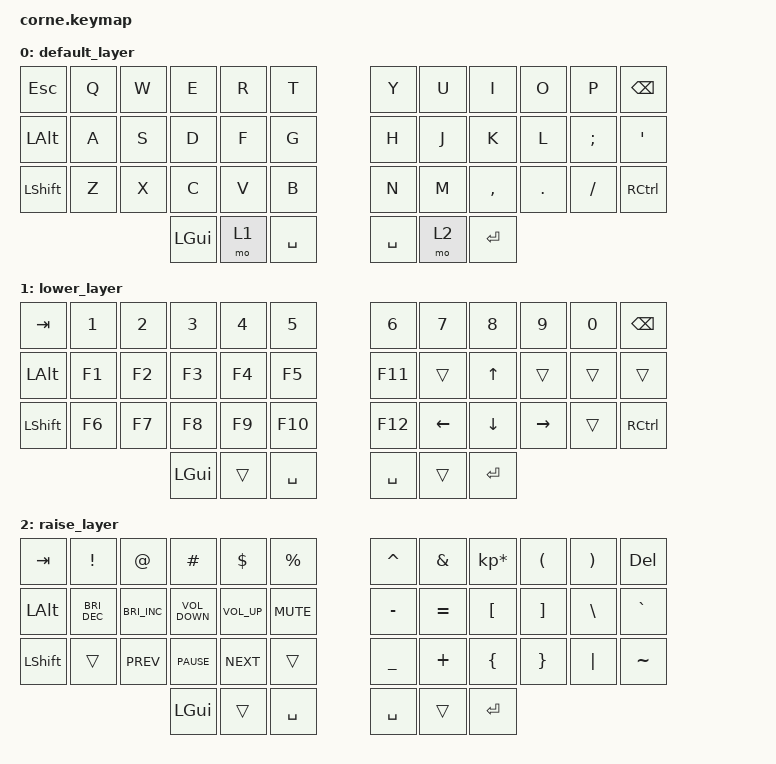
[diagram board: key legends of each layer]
/*
 * Copyright (c) 2020 The ZMK Contributors
 *
 * SPDX-License-Identifier: MIT
 */

#include <behaviors.dtsi>
#include <dt-bindings/zmk/keys.h>

&led_strip { chain-length = <27>; };

/ {
    keymap {
        compatible = "zmk,keymap";

        default_layer {
            // -----------------------------------------------------------------------------------------
            // |  TAB |  Q  |  W  |  E  |  R  |  T  |   |  Y  |  U   |  I  |  O  |  P  | BKSP |
            // | CTRL |  A  |  S  |  D  |  F  |  G  |   |  H  |  J   |  K  |  L  |  ;  |  '   |
            // | SHFT |  Z  |  X  |  C  |  V  |  B  |   |  N  |  M   |  ,  |  .  |  /  | ESC  |
            //                    | GUI | LWR | SPC |   | ENT | RSE  | ALT |

            bindings = <
&kp ESC         &kp Q  &kp W  &kp E     &kp R  &kp T        &kp Y      &kp U  &kp I      &kp O    &kp P     &kp BSPC
&kp LALT        &kp A  &kp S  &kp D     &kp F  &kp G        &kp H      &kp J  &kp K      &kp L    &kp SEMI  &kp SQT
&kp LEFT_SHIFT  &kp Z  &kp X  &kp C     &kp V  &kp B        &kp N      &kp M  &kp COMMA  &kp DOT  &kp FSLH  &kp RCTRL
                              &kp LGUI  &mo 1  &kp SPACE    &kp SPACE  &mo 2  &kp ENTER
            >;
        };

        lower_layer {
            // -----------------------------------------------------------------------------------------
            // |  TAB |  1  |  2  |  3  |  4  |  5  |   |  6  |  7  |  8  |  9  |  0  | BKSP |
            // | BTCLR| BT1 | BT2 | BT3 | BT4 | BT5 |   | LFT | DWN |  UP | RGT |     |      |
            // | SHFT |     |     |     |     |     |   |     |     |     |     |     |      |
            //                    | GUI |     | SPC |   | ENT |     | ALT |

            bindings = <
&kp TAB       &kp N1  &kp N2  &kp N3    &kp N4  &kp N5       &kp N6     &kp N7    &kp N8          &kp N9     &kp N0  &kp BACKSPACE
&kp LEFT_ALT  &kp F1  &kp F2  &kp F3    &kp F4  &kp F5       &kp F11    &trans    &kp UP_ARROW    &trans     &trans  &trans
&kp LSHFT     &kp F6  &kp F7  &kp F8    &kp F9  &kp F10      &kp F12    &kp LEFT  &kp DOWN_ARROW  &kp RIGHT  &trans  &kp RCTRL
                              &kp LGUI  &trans  &kp SPACE    &kp SPACE  &trans    &kp ENTER
            >;
        };

        raise_layer {
            // -----------------------------------------------------------------------------------------
            // |  TAB |  !  |  @  |  #  |  $  |  %  |   |  ^  |  &  |  *  |  (  |  )  | BKSP |
            // | CTRL |     |     |     |     |     |   |  -  |  =  |  [  |  ]  |  \  |  `   |
            // | SHFT |     |     |     |     |     |   |  _  |  +  |  {  |  }  | "|" |  ~   |
            //                    | GUI |     | SPC |   | ENT |     | ALT |

            bindings = <
&kp TAB         &kp EXCL              &kp AT                &kp HASH           &kp DLLR         &kp PRCNT     &kp CARET  &kp AMPS   &kp KP_MULTIPLY  &kp LPAR  &kp RPAR  &kp DEL
&kp LALT        &kp C_BRIGHTNESS_DEC  &kp C_BRIGHTNESS_INC  &kp K_VOLUME_DOWN  &kp K_VOLUME_UP  &kp K_MUTE    &kp MINUS  &kp EQUAL  &kp LBKT         &kp RBKT  &kp BSLH  &kp GRAVE
&kp LEFT_SHIFT  &trans                &kp C_PREV            &kp C_PAUSE        &kp C_NEXT       &trans        &kp UNDER  &kp PLUS   &kp LBRC         &kp RBRC  &kp PIPE  &kp TILDE
                                                            &kp LGUI           &trans           &kp SPACE     &kp SPACE  &trans     &kp ENTER
            >;
        };
    };
};
